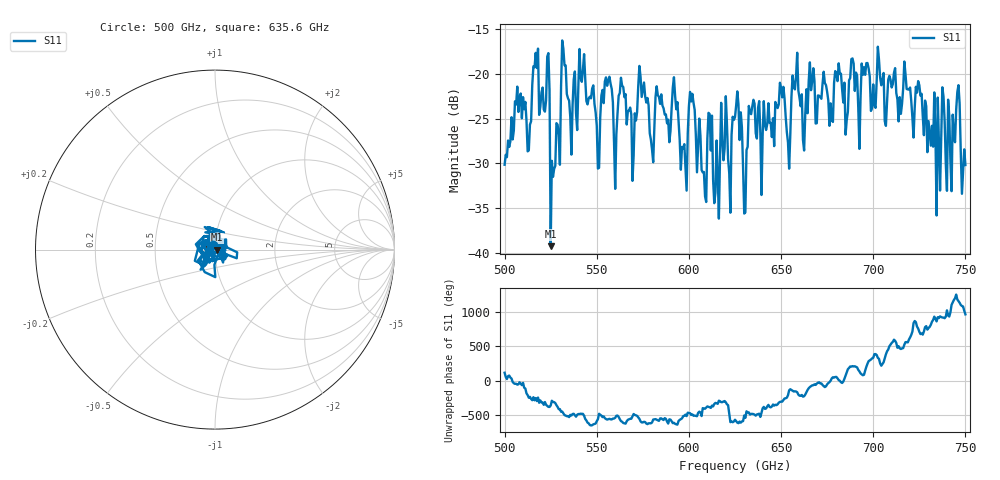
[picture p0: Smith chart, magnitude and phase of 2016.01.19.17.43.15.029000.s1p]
!Created with skrf (http://scikit-rf.org).
# GHz S RI R 50.0
!freq ReS11 ImS11
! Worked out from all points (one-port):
!   401 points, 500 GHz to 750 GHz, reference 50 ohm
!   lowest |S11| = -39.2 dB at 525 GHz (marker M1), VSWR 1.02, Z = 51.1 - j0.04 ohm
!   |S11| at or under -10 dB: start of sweep to end of sweep
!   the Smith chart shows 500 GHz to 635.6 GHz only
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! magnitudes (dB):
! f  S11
! 500 GHz  -30.2
! 507.5 GHz  -24.3
! 513.1 GHz  -28.6
! 516.9 GHz  -17.7
! 523.1 GHz  -18.1
! 525 GHz  -39.2
! 526.2 GHz  -31.5
! 531.2 GHz  -16.3
! 541.9 GHz  -20.9
! 550.6 GHz  -30.6
! 562.5 GHz  -22.2
! 593.8 GHz  -23.2
! 597.5 GHz  -27.9
! 601.9 GHz  -22.2
! 608.1 GHz  -31.0
! 611.2 GHz  -24.5
! 615 GHz  -27.4
! 625 GHz  -24.8
! 630.6 GHz  -35.5
! 633.8 GHz  -24.5
! 650.6 GHz  -22.6
! 653.8 GHz  -27.7
! 656.2 GHz  -20.2
! 687.5 GHz  -20.5
! 718.8 GHz  -21.7
! 735.6 GHz  -27.5
! 745.6 GHz  -22.0
! 750 GHz  -30.2
